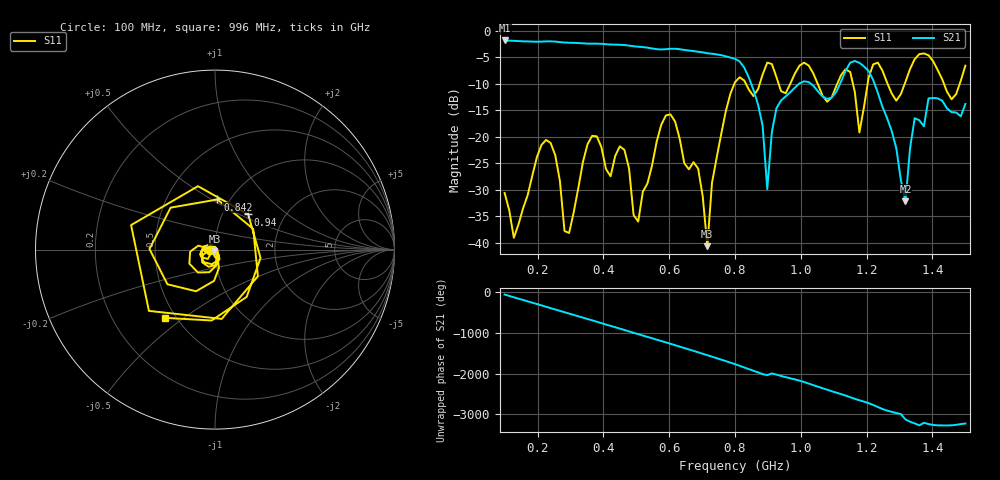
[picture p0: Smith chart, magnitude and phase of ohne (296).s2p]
! NanoVNA-App
! Date: 2025-09-25 14:23:06
! Start: 100MHz Stop: 1,5GHz Points: 101
! S-Parameter data: F S11 S21 S12 S22
# Hz S RI R 50
!  Frequency  S11_Real  S11_Imag  S21_Real  S21_Imag  S12_Real  S12_Imag  S22_Real  S22_Imag
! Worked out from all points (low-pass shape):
!   101 points, 100 MHz to 1.5 GHz, reference 50 ohm
!   highest |S21| = -1.79 dB at 100 MHz (marker M1); lowest = -32.2 dB at 1.318 GHz (marker M2)
!   |S21| within 3 dB of the highest: start of sweep to 772.2 MHz
!   lowest |S11| = -40.7 dB at 716 MHz (marker M3), VSWR 1.02, Z = 49.7 - j0.875 ohm
!   |S11| at or under -10 dB: start of sweep to 798 MHz; 833.2 MHz to 875.1 MHz (41.86 MHz wide, 4.9 % of centre); 1.051 GHz to 1.111 GHz (59.23 MHz wide, 5.48 % of centre) (the widest 3 of 7)
!   S12 and S22 are empty: the file has one direction only
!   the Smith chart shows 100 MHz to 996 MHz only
!   S11 on the Smith chart (normalised r, x): 100 MHz: 0.94, -0.01; 842 MHz: 0.88, +0.53; 940 MHz: 1.32, +0.56; 996 MHz: 0.44, -0.43
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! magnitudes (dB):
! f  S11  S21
! 100 MHz  -30.6  -1.8
! 128 MHz  -39.1  -1.9
! 226 MHz  -20.6  -2.0
! 296 MHz  -38.2  -2.2
! 338 MHz  -24.8  -2.3
! 464 MHz  -22.5  -2.7
! 506 MHz  -36.0  -3.0
! 576 MHz  -17.7  -3.5
! 688 MHz  -26.0  -3.9
! 716 MHz  -40.7  -4.2
! 800 MHz  -9.7  -5.3
! 842 MHz  -11.1  -8.8
! 898 MHz  -6.0  -29.9
! 940 MHz  -11.4  -13.1
! 996 MHz  -6.6  -9.9
! 1.038 GHz  -8.0  -10.3
! 1.178 GHz  -19.2  -6.0
! 1.22 GHz  -6.3  -9.3
! 1.276 GHz  -11.8  -18.9
! 1.318 GHz  -9.6  -32.2
! 1.346 GHz  -5.3  -16.5
! 1.5 GHz  -6.6  -13.8
